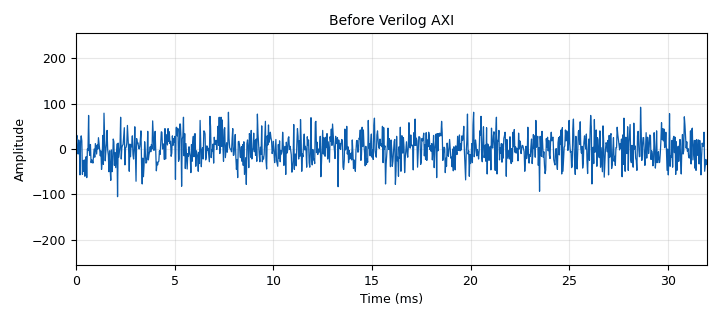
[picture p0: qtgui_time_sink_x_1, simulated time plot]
<?xml version='1.0' encoding='utf-8'?>
<?grc format='1' created='3.7.11'?>
<flow_graph>
<block>
<key>options</key>
<param><key>id</key><value>verilog_axi_ii_demo</value></param>
<param><key>author</key><value>Bowen Hu</value></param>
<param><key>description</key><value>This is a demo of verilog_axi_ii block</value></param>
<param><key>generate_options</key><value>qt_gui</value></param>
<param><key>title</key><value>verilog_axi_ii demo</value></param>
</block>
<block>
<key>variable</key>
<param><key>id</key><value>samp_rate</value></param>
<param><key>value</key><value>32000</value></param>
</block>
<block>
<key>analog_fastnoise_source_x</key>
<param><key>id</key><value>analog_fastnoise_source_x_0</value></param>
<param><key>amp</key><value>32</value></param>
<param><key>noise_type</key><value>analog.GR_GAUSSIAN</value></param>
<param><key>type</key><value>int</value></param>
<param><key>seed</key><value>0</value></param>
<param><key>samples</key><value>8192</value></param>
</block>
<block>
<key>blocks_int_to_float</key>
<param><key>id</key><value>blocks_int_to_float_0</value></param>
<param><key>scale</key><value>1</value></param>
</block>
<block>
<key>blocks_int_to_float</key>
<param><key>id</key><value>blocks_int_to_float_1</value></param>
<param><key>scale</key><value>1</value></param>
</block>
<block>
<key>blocks_throttle</key>
<param><key>id</key><value>blocks_throttle_0</value></param>
<param><key>samples_per_second</key><value>samp_rate</value></param>
<param><key>type</key><value>int</value></param>
</block>
<block>
<key>qtgui_time_sink_x</key>
<param><key>id</key><value>qtgui_time_sink_x_0</value></param>
<param><key>color1</key><value>"blue"</value></param>
<param><key>label1</key><value></value></param>
<param><key>name</key><value>"After Verilog AXI"</value></param>
<param><key>size</key><value>1024</value></param>
<param><key>srate</key><value>samp_rate</value></param>
<param><key>type</key><value>float</value></param>
<param><key>ymax</key><value>256</value></param>
<param><key>ymin</key><value>-256</value></param>
</block>
<block>
<key>qtgui_time_sink_x</key>
<param><key>id</key><value>qtgui_time_sink_x_1</value></param>
<param><key>color1</key><value>"blue"</value></param>
<param><key>label1</key><value></value></param>
<param><key>name</key><value>"Before Verilog AXI"</value></param>
<param><key>size</key><value>1024</value></param>
<param><key>srate</key><value>samp_rate</value></param>
<param><key>type</key><value>float</value></param>
<param><key>ymax</key><value>256</value></param>
<param><key>ymin</key><value>-256</value></param>
</block>
<block>
<key>verilog_axi_xx</key>
<param><key>id</key><value>verilog_axi_xx_0</value></param>
<param><key>IO_ratio</key><value>1.0</value></param>
<param><key>type</key><value>int</value></param>
<param><key>module_flag</key><value>0</value></param>
<param><key>overwrite</key><value>True</value></param>
<param><key>skip_output_items</key><value>0</value></param>
<param><key>verilator_options</key><value></value></param>
<param><key>file</key><value></value></param>
</block>
<connection><source_block_id>analog_fastnoise_source_x_0</source_block_id><sink_block_id>blocks_throttle_0</sink_block_id><source_key>0</source_key><sink_key>0</sink_key></connection>
<connection><source_block_id>blocks_int_to_float_0</source_block_id><sink_block_id>qtgui_time_sink_x_1</sink_block_id><source_key>0</source_key><sink_key>0</sink_key></connection>
<connection><source_block_id>blocks_int_to_float_1</source_block_id><sink_block_id>qtgui_time_sink_x_0</sink_block_id><source_key>0</source_key><sink_key>0</sink_key></connection>
<connection><source_block_id>blocks_throttle_0</source_block_id><sink_block_id>blocks_int_to_float_0</sink_block_id><source_key>0</source_key><sink_key>0</sink_key></connection>
<connection><source_block_id>blocks_throttle_0</source_block_id><sink_block_id>verilog_axi_xx_0</sink_block_id><source_key>0</source_key><sink_key>0</sink_key></connection>
<connection><source_block_id>verilog_axi_xx_0</source_block_id><sink_block_id>blocks_int_to_float_1</sink_block_id><source_key>0</source_key><sink_key>0</sink_key></connection>
</flow_graph>
